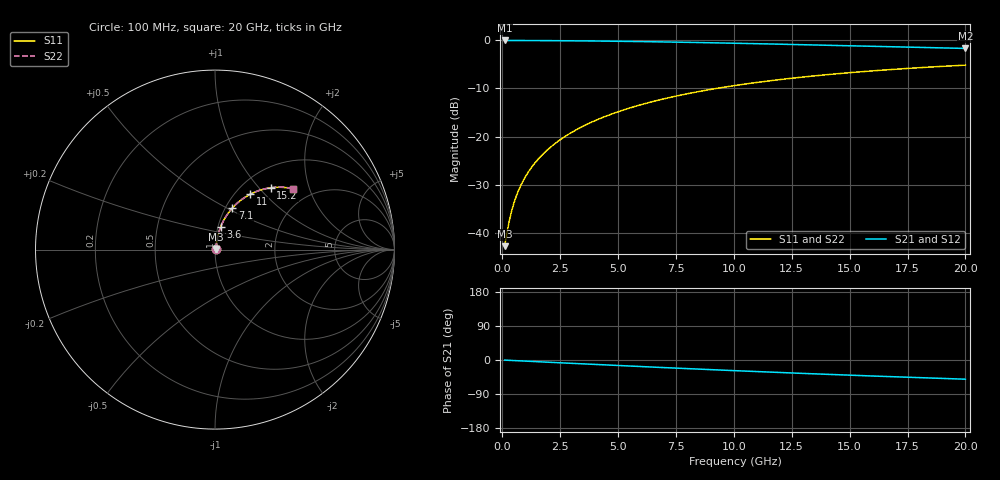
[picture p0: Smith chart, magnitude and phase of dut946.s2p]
! Touchstone file exported from HFSS 2026.1.0
!  File:  C:/ffzhzh/LocalFiles/Ansys_Project_Files/temp_train_TMRDL_946_1783158595_55132.aedt
!  Generated:  05:51:13 PM Jul  4, 2026
!  Design:  TMRDL
!  Project:  temp_train_TMRDL_946_1783158595_55132
! Variables:
!  h_bsmrdl = 2um
!  h_ox = 20um
!  h_rdl = 5um
!  h_sub = 80um
!  h_tmrdl = 2.68um
!  h_tsv = 80um
!  h_via = 3um
!  l_bsmrdl = 300um
!  l_sub = 1078.41um
!  l_tmrdl = 678.41um
!  m_sub = 200um
!  pitch = 53.98um
!  r_tsv = 6um
!  s_tmrdl = 10um
!  w_bsmrdl = 18um
!  w_sub = 500um
!  w_tmrdl = 14.83um
!  x_tsv_center1 = 685.825um
!  x_tsv_center2 = 1003.825um
!  x_tsv_center3 = 1697.065um
!  x_tsv_center4 = 2015.065um
!  x_tsv_center5 = 2708.305um
!  x_tsv_center6 = 3026.305um
# GHz S MA R 50.000000
! Terminal data exported
! Port[1] = TM_RDL1_1_T1
! Port[2] = TM_RDL1_1_T2
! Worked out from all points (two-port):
!   200 points, 100 MHz to 20 GHz, reference 50 ohm
!   highest |S21| = -0.05 dB at 100 MHz (marker M1); lowest = -1.7 dB at 20 GHz (marker M2)
!   |S21| within 3 dB of the highest: start of sweep to end of sweep
!   lowest |S11| = -42.8 dB at 100 MHz (marker M3), VSWR 1.01, Z = 50.6 + j0.392 ohm
!   |S11| at or under -10 dB: start of sweep to 9.269 GHz
!   |S22| runs from -42.8 to -5.2 dB; largest |S21 - S12| = 3.4e-15
!   S11 on the Smith chart (normalised r, x): 100 MHz: 1.01, +0.01; 3.6 GHz: 1.03, +0.27; 7.1 GHz: 1.08, +0.53; 11 GHz: 1.17, +0.83; 15.2 GHz: 1.32, +1.16; 20 GHz: 1.60, +1.56
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0.1  0.007272 32.2  0.9939 -0.3  0.9939 -0.3  0.007272 32.2
! Gamma 0 0 0 0
! Port Impedance 50 0 50 0
0.3  0.01324 60.5  0.9936 -0.9  0.9936 -0.9  0.01324 60.5
0.4  0.01673 66.1  0.9934 -1.2  0.9934 -1.2  0.01673 66.1
0.5  0.0203 69.5  0.9932 -1.5  0.9932 -1.5  0.0203 69.5
0.6  0.02389 71.8  0.993 -1.8  0.993 -1.8  0.02389 71.8
0.8  0.0311 74.7  0.9926 -2.4  0.9926 -2.4  0.0311 74.7
1.1  0.04194 76.8  0.992 -3.3  0.992 -3.3  0.04194 76.8
1.5  0.05642 78.0  0.991 -4.4  0.991 -4.4  0.05642 78.0
2.1  0.07813 78.2  0.9893 -6.2  0.9893 -6.2  0.07813 78.2
2.7  0.09977 77.5  0.9872 -7.9  0.9872 -7.9  0.09977 77.6
3.5  0.1283 76.1  0.9837 -10.3  0.9837 -10.3  0.1283 76.1
3.6  0.1319 75.9  0.9832 -10.5  0.9832 -10.5  0.1319 75.9
5  0.1807 72.7  0.9749 -14.5  0.9749 -14.5  0.1807 72.7
6.8  0.2405 68.2  0.9612 -19.6  0.9612 -19.6  0.2405 68.2
7.1  0.2501 67.4  0.9586 -20.4  0.9586 -20.4  0.2501 67.4
8.5  0.2935 63.8  0.9457 -24.1  0.9457 -24.1  0.2935 63.9
10.1  0.3399 59.8  0.9295 -28.3  0.9295 -28.3  0.3399 59.9
11  0.3644 57.6  0.9199 -30.6  0.9199 -30.6  0.3644 57.7
13.4  0.4244 51.9  0.8933 -36.4  0.8933 -36.4  0.4244 52.0
15.2  0.4643 47.9  0.873 -40.5  0.873 -40.5  0.4643 48.0
16.7  0.4943 44.6  0.8563 -43.8  0.8563 -43.8  0.4943 44.8
20  0.5509 37.9  0.8212 -50.6  0.8212 -50.6  0.5509 38.1
